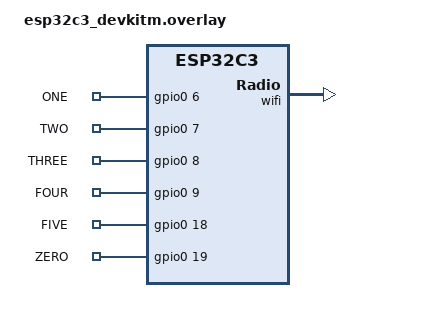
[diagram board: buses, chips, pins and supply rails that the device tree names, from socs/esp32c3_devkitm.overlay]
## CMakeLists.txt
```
# SPDX-License-Identifier: Apache-2.0

set(DTC_OVERLAY_FILE ${CMAKE_CURRENT_SOURCE_DIR}/socs/esp32c3_devkitm.overlay)

cmake_minimum_required(VERSION 3.20.0)

find_package(Zephyr REQUIRED HINTS $ENV{ZEPHYR_BASE})
project(wifi_demo)

target_sources(app PRIVATE src/main.c)
```

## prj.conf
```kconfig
CONFIG_NEWLIB_LIBC=n
CONFIG_MINIMAL_LIBC=y

# Increase stack memory
CONFIG_MAIN_STACK_SIZE=2048

# Enable WiFi
CONFIG_WIFI=y

# Networking config
CONFIG_NETWORKING=y
CONFIG_NET_IPV4=y
CONFIG_NET_IPV6=y
CONFIG_NET_TCP=y
CONFIG_NET_UDP=y
CONFIG_NET_SOCKETS=y

CONFIG_MQTT_LIB=y
CONFIG_MBEDTLS=y
CONFIG_MQTT_LIB_TLS=n
CONFIG_MQTT_KEEPALIVE=60

# Get IPv4 address from DHCP
CONFIG_NET_DHCPV4=y

# Enable DNS resolver
CONFIG_DNS_RESOLVER=y

# How long to wait for e.g. DHCP to provide an IP address (seconds)
CONFIG_NET_CONFIG_INIT_TIMEOUT=30

# Network debug config
#CONFIG_NET_LOG=y

# Enable Ethernet (required for WiFi)
CONFIG_NET_L2_ETHERNET=y

# Get IP address from DHCP
CONFIG_ESP32_WIFI_STA_AUTO_DHCPV4=y

# System heap for WiFi
CONFIG_ESP_WIFI_HEAP_SYSTEM=y
CONFIG_HEAP_MEM_POOL_SIZE=46336
#51200
CONFIG_POSIX_API=y
CONFIG_GPIO=y
```

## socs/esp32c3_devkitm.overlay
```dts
&wifi {
    compatible = "espressif,esp32-wifi";
    status = "okay";
};

/ {
    gpio_pins {
        compatible = "gpio-keys";
        status = "okay";

        one_pin: one {
            gpios = <&gpio0 6 GPIO_ACTIVE_HIGH>;  // GPIO4 for TRIG
            label = "ONE";
        };

        two_pin: two {
            gpios = <&gpio0 7 GPIO_ACTIVE_HIGH>;  // GPIO5 for ECHO
            label = "TWO";
        };

        three_pin: three {
            gpios = <&gpio0 8 GPIO_ACTIVE_HIGH>;  // GPIO4 for TRIG
            label = "THREE";
        };

        four_pin: four {
            gpios = <&gpio0 9 GPIO_ACTIVE_HIGH>;  // GPIO5 for ECHO
            label = "FOUR";
        };

        five_pin: five {
            gpios = <&gpio0 18 GPIO_ACTIVE_HIGH>;  // GPIO4 for TRIG
            label = "FIVE";
        };

        zero_pin: zero {
            gpios = <&gpio0 19 GPIO_ACTIVE_HIGH>;  // GPIO5 for ECHO
            label = "ZERO";
        };
    };

    aliases {
        one = &one_pin;
        two = &two_pin;
        three = &three_pin;
        four = &four_pin;
        five = &five_pin;
        zero = &zero_pin;
    };
};
```

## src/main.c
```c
#include <stdio.h>
#include <string.h>
#include <zephyr/kernel.h>
#include <zephyr/net/socket.h>
#include <zephyr/net/wifi_mgmt.h>
#include <zephyr/posix/sys/socket.h>
#include <zephyr/net/net_ip.h>
#include <zephyr/device.h>
#include <zephyr/sys/printk.h>
#include <zephyr/net/mqtt.h>
#include <zephyr/net/net_event.h>
#include <zephyr/net/net_mgmt.h>
#include <zephyr/net/dns_resolve.h>
#include <zephyr/net/net_core.h>
#include <zephyr/net/net_if.h>
#include <zephyr/drivers/gpio.h>

#define STACK_SIZE 1024
#define POLL_THREAD_PRIORITY 1
#define ULTRA_THREAD_PRIORITY 2

// GPIO pins
#define PIN_ZERO 6
#define PIN_ONE 7
#define PIN_TWO 8
#define GPIO_NODE DT_NODELABEL(gpio0)
const struct device *gpio_dev = DEVICE_DT_GET(GPIO_NODE);

// WiFi settings
#define WIFI_SSID "Jacob"
#define WIFI_PSK "Wynnum4178!"// CONFIGURE
#define MQTT_HOSTNAME "broker.emqx.io"
#define BROKER_IP "44.232.241.40"
#define MQTT_PORT 1883
#define CLIENT_ID "ESP32-zephyr-client"
#define MQTT_SUBSCRIBE_TOPIC "python/mqtt"
#define MQTT_USERNAME "emqx"
#define MQTT_PASSWORD "public"

// Buffer sizes
#define MQTT_CLIENT_RX_BUF_LEN 128
#define MQTT_CLIENT_TX_BUF_LEN 128

static struct mqtt_client client;
static struct sockaddr_storage broker;
static struct pollfd fds[1];
static int nfds;

static uint8_t rx_buff[MQTT_CLIENT_RX_BUF_LEN];
static uint8_t tx_buff[MQTT_CLIENT_TX_BUF_LEN];

// Event callbacks
static struct net_mgmt_event_callback wifi_cb;
static struct net_mgmt_event_callback ipv4_cb;

// Semaphores
static K_SEM_DEFINE(sem_mqtt_connected, 0, 1);
static K_SEM_DEFINE(dns_sem, 0, 1);
static K_SEM_DEFINE(sem_wifi, 0, 1);
static K_SEM_DEFINE(sem_ipv4, 0, 1);
static K_SEM_DEFINE(poll_sem, 0, 1);
static K_SEM_DEFINE(ultra_sem, 0, 1);

void dns_result_cb(enum dns_resolve_status status, struct dns_addrinfo *info, void *user_data) {
	char hr_addr[NET_IPV4_ADDR_LEN];
	char *hr_family;
	void *addr;
    printf("Resolving ...\n");
	switch (status) {
	case DNS_EAI_CANCELED:
		printf("DNS query was canceled\n");
		return;
	case DNS_EAI_FAIL:
		printf("DNS resolve failed\n");
		return;
	case DNS_EAI_NODATA:
		printf("Cannot resolve address\n");
		return;
	case DNS_EAI_ALLDONE:
		printf("DNS resolving finished\n");
        k_sem_give(&dns_sem);
		return;
	case DNS_EAI_INPROGRESS:
		break;
	default:
		printf("DNS resolving error (%d)\n", status);
		return;
	}

	if (!info) {
		return;
	}

	if (info->ai_family == AF_INET) {
		hr_family = "IPv4";
		addr = &net_sin(&info->ai_addr)->sin_addr;
        struct sockaddr_in *broker_addr = (struct sockaddr_in *)&broker;
        broker_addr->sin_family = AF_INET;
        broker_addr->sin_port = htons(MQTT_PORT);
        memcpy(&broker_addr->sin_addr, &net_sin(&info->ai_addr)->sin_addr, sizeof(struct in_addr));
        net_addr_ntop(AF_INET, &broker_addr->sin_addr, hr_addr, sizeof(hr_addr));
        printf("Resolved %s to IPv4 address: %s\n", MQTT_HOSTNAME, hr_addr);
	} else if (info->ai_family == AF_INET6) {
		hr_family = "IPv6";
		addr = &net_sin6(&info->ai_addr)->sin6_addr;
	} else {
		printf("Invalid IP address family %d\n", info->ai_family);
		return;
	}

	printf("%s %s address: %s\n", user_data ? (char *)user_data : "<null>",
		hr_family, net_addr_ntop(info->ai_family, addr, hr_addr, sizeof(hr_addr)));
}

static int resolve_dns(void)
{
    struct dns_resolve_context *dns_ctx = dns_resolve_get_default();
    if (!dns_ctx) {
        printk("No DNS context available\n");
        return -1;
    }

    printk("Resolving hostname: %s\n", MQTT_HOSTNAME);
    int ret = dns_get_addr_info(MQTT_HOSTNAME, DNS_QUERY_TYPE_A, NULL, dns_result_cb, (void*)MQTT_HOSTNAME, 10000);
    if (ret) {
        printk("Failed to start DNS query: %d\n", ret);
        return ret;
    }

    ret = k_sem_take(&dns_sem, K_SECONDS(10));
    if (ret) {
        printk("DNS resolve timeout\n");
        return -2;
    }
    return 0;
}

static void set_fan_speed(int fan_speed) {
    if (fan_speed == 1) {
		gpio_pin_set(gpio_dev, PIN_ZERO, 1);
        gpio_pin_set(gpio_dev, PIN_ONE, 0);
        gpio_pin_set(gpio_dev, PIN_TWO, 0);
	} else if (fan_speed == 2) {
		gpio_pin_set(gpio_dev, PIN_ZERO, 0);
		gpio_pin_set(gpio_dev, PIN_ONE, 1);
        gpio_pin_set(gpio_dev, PIN_TWO, 0);
    } else if (fan_speed == 3) {
		gpio_pin_set(gpio_dev, PIN_ZERO, 1);
		gpio_pin_set(gpio_dev, PIN_ONE, 1);
        gpio_pin_set(gpio_dev, PIN_TWO, 0);
	} else if (fan_speed == 4) {
		gpio_pin_set(gpio_dev, PIN_ZERO, 0);
		gpio_pin_set(gpio_dev, PIN_ONE, 0);
        gpio_pin_set(gpio_dev, PIN_TWO, 1);
	} else if (fan_speed == 5) {
		gpio_pin_set(gpio_dev, PIN_ZERO, 1);
		gpio_pin_set(gpio_dev, PIN_ONE, 0);
        gpio_pin_set(gpio_dev, PIN_TWO, 1);
	} else if (fan_speed == 0) {
		gpio_pin_set(gpio_dev, PIN_ZERO, 0);
		gpio_pin_set(gpio_dev, PIN_ONE, 0);
        gpio_pin_set(gpio_dev, PIN_TWO, 0);
	} else {
        //Nothing detected, don't change
        ;
    }
}

static void mqtt_evt_handler(struct mqtt_client *client, const struct mqtt_evt *evt)
{
    int temp = 0, fan = 0, lights = 0;
    
    switch (evt->type) {
    case MQTT_EVT_CONNACK:
        if (evt->result == 0) {
            printk("MQTT client connected\n");
            k_sem_give(&sem_mqtt_connected);
        } else {
            printk("MQTT connect failed: %d\n", evt->result);
        }
        break;
    case MQTT_EVT_DISCONNECT:
        printk("MQTT client disconnected\n");
        break;
    case MQTT_EVT_PUBLISH:
        {
            const struct mqtt_publish_param *p = &evt->param.publish;
            uint16_t len = p->message.payload.len;
            if (len > sizeof(rx_buff) - 1) {
                len = sizeof(rx_buff) - 1;
            }
            int ret = mqtt_read_publish_payload(client, rx_buff, len);
            if (ret < 0) {
                printk("Failed to read MQTT payload: %d\n", ret);
                break;
            }
            rx_buff[len] = '\0';
            printk("MQTT message received on topic %.*s: %s\n",
                   p->message.topic.topic.size,
                   p->message.topic.topic.utf8,
                   rx_buff);
            char *token = strtok(rx_buff, ",");
            
            while (token) {
                if (strstr(token, "Temp:"))
                    temp = atoi(token + 6);
                else if (strstr(token, "Lights:"))
                    lights = atoi(token + 8);
                else if (strstr(token, "Fan:"))
                    fan = atoi(token + 6);
                token = strtok(NULL, ",");
            }

            printk("Fan Speed: %d", fan);
            //Drive the servo
            set_fan_speed(fan);
        }
        break;
    default:
        printk("MQTT event: %d\n", evt->type);
        break;
    }
}

static int mqtt_connect_client(void)
{
    int ret = resolve_dns();
    if (ret) {
        return ret;
    }
    
    mqtt_client_init(&client);

    client.broker = &broker;
    client.evt_cb = mqtt_evt_handler;

    client.client_id.utf8 = (uint8_t *)CLIENT_ID;
    client.client_id.size = strlen(CLIENT_ID);

    client.protocol_version = MQTT_VERSION_3_1_1;

    struct mqtt_sec_config *tls_config = NULL; // No TLS here, plain MQTT on port 1883

    client.transport.type = MQTT_TRANSPORT_NON_SECURE;
    client.rx_buf = rx_buff;
    client.rx_buf_size = sizeof(rx_buff);
    client.tx_buf = tx_buff;
    client.tx_buf_size = sizeof(tx_buff);

    
    struct mqtt_utf8 username = {
        .utf8 = (uint8_t *)MQTT_USERNAME,
        .size = strlen(MQTT_USERNAME)
    };
    struct mqtt_utf8 password = {
        .utf8 = (uint8_t *)MQTT_PASSWORD,
        .size = strlen(MQTT_PASSWORD)
    };

    client.password = &password;
	client.user_name = &username;


    ret = mqtt_connect(&client);
    if (ret) {
        printk("MQTT connect failed: %d\n", ret);
        return ret;
    }

    return 0;
}

static int mqtt_subscribe_topic(const char *topic)
{
    struct mqtt_topic topics[1];
    struct mqtt_subscription_list subscription;
    topics[0].topic.utf8 = (uint8_t *)topic;
    topics[0].topic.size = strlen(topic);
    topics[0].qos = MQTT_QOS_1_AT_LEAST_ONCE;

    subscription.list = topics;
    subscription.list_count = 1;
    subscription.message_id = 1;
    printf("Subscribing to topic: %s\n", topic);
    int ret = mqtt_subscribe(&client, &subscription);

    if (ret) {
        printk("Failed to subscribe to topic %s: %d\n", topic, ret);
        return ret;
    }

    printk("Subscribed to topic %s\n", topic);
    return 0;
}

static int mqtt_publish_message(const char *topic, const char *message)
{
    struct mqtt_publish_param param;

    param.message.topic.qos = MQTT_QOS_1_AT_LEAST_ONCE;
    param.message.topic.topic.utf8 = (uint8_t *)topic;
    param.message.topic.topic.size = strlen(topic);
    param.message.payload.data = (uint8_t *)message;
    param.message.payload.len = strlen(message);
    param.message_id = 1;
    param.dup_flag = 0;
    param.retain_flag = 0;

    int ret = mqtt_publish(&client, &param);
    if (ret) {
        printk("Failed to publish message: %d\n", ret);
        return ret;
    }

    printk("Published message: %s to topic: %s\n", message, topic);
    return 0;
}

// Called when the WiFi is connected
static void on_wifi_connection_event(struct net_mgmt_event_callback *cb,
                                     uint32_t mgmt_event,
                                     struct net_if *iface)
{
    const struct wifi_status *status = (const struct wifi_status *)cb->info;

    if (mgmt_event == NET_EVENT_WIFI_CONNECT_RESULT) {
        if (status->status) {
            printk("Error (%d): Connection request failed\r\n", status->status);
        } else {
            printk("Connected!\r\n");
            k_sem_give(&sem_wifi);
        }
    } else if (mgmt_event == NET_EVENT_WIFI_DISCONNECT_RESULT) {
        if (status->status) {
            printk("Error (%d): Disconnection request failed\r\n", status->status);
        } else {
            printk("Disconnected\r\n");
            k_sem_take(&sem_wifi, K_NO_WAIT);
        }
    }
}

// Event handler for WiFi management events
static void on_ipv4_obtained(struct net_mgmt_event_callback *cb,
                             uint32_t mgmt_event,
                             struct net_if *iface)
{
    // Signal that the IP address has been obtained
    if (mgmt_event == NET_EVENT_IPV4_ADDR_ADD) {
        k_sem_give(&sem_ipv4);
    }
}

// Initialize the WiFi event callbacks
void wifi_init(void)
{
    // Initialize the event callbacks
    net_mgmt_init_event_callback(&wifi_cb,
                                 on_wifi_connection_event,
                                 NET_EVENT_WIFI_CONNECT_RESULT | NET_EVENT_WIFI_DISCONNECT_RESULT);
    net_mgmt_init_event_callback(&ipv4_cb,
                                 on_ipv4_obtained,
                                 NET_EVENT_IPV4_ADDR_ADD);
    
    // Add the event callbacks
    net_mgmt_add_event_callback(&wifi_cb);
    net_mgmt_add_event_callback(&ipv4_cb);
}

// Connect to the WiFi network (blocking)
int wifi_connect(char *ssid, char *psk)
{
    int ret;
    struct net_if *iface;
    struct wifi_connect_req_params params;

    // Get the default networking interface
    iface = net_if_get_default();

    // Fill in the connection request parameters
    params.ssid = (const uint8_t *)ssid;
    params.ssid_length = strlen(ssid);
    params.psk = (const uint8_t *)psk;
    params.psk_length = strlen(psk);
    params.security = WIFI_SECURITY_TYPE_PSK;
    params.band = WIFI_FREQ_BAND_UNKNOWN;
    params.channel = WIFI_CHANNEL_ANY;
    params.mfp = WIFI_MFP_OPTIONAL;

    // Connect to the WiFi network
    ret = net_mgmt(NET_REQUEST_WIFI_CONNECT,
                   iface,
                   &params,
                   sizeof(params));

    // Wait for the connection to complete
    k_sem_take(&sem_wifi, K_FOREVER);

    return ret;
}

// Wait for IP address (blocking)
void wifi_wait_for_ip_addr(void)
{
    struct wifi_iface_status status;
    struct net_if *iface;
    char ip_addr[NET_IPV4_ADDR_LEN];
    char gw_addr[NET_IPV4_ADDR_LEN];

    // Get interface
    iface = net_if_get_default();

    // Wait for the IPv4 address to be obtained
    k_sem_take(&sem_ipv4, K_FOREVER);

    // Get the WiFi status
    if (net_mgmt(NET_REQUEST_WIFI_IFACE_STATUS,
                 iface,
                 &status,
                 sizeof(struct wifi_iface_status))) {
        printk("Error: WiFi status request failed\r\n");
    }

    // Get the IP address
    memset(ip_addr, 0, sizeof(ip_addr));
    if (net_addr_ntop(AF_INET,
                      &iface->config.ip.ipv4->unicast[0].ipv4.address.in_addr,
                      ip_addr,
                      sizeof(ip_addr)) == NULL) {
        printk("Error: Could not convert IP address to string\r\n");
    }

    // Get the gateway address
    memset(gw_addr, 0, sizeof(gw_addr));
    if (net_addr_ntop(AF_INET,
                      &iface->config.ip.ipv4->gw,
                      gw_addr,
                      sizeof(gw_addr)) == NULL) {
        printk("Error: Could not convert gateway address to string\r\n");
    }

    // Print the WiFi status
    printk("WiFi status:\r\n");
    if (status.state >= WIFI_STATE_ASSOCIATED) {
        printk("  SSID: %-32s\r\n", status.ssid);
        printk("  Band: %s\r\n", wifi_band_txt(status.band));
        printk("  Channel: %d\r\n", status.channel);
        printk("  Security: %s\r\n", wifi_security_txt(status.security));
        printk("  IP address: %s\r\n", ip_addr);
        printk("  Gateway: %s\r\n", gw_addr);
    }
}

// Disconnect from the WiFi network
int wifi_disconnect(void)
{
    int ret;
    struct net_if *iface = net_if_get_default();

    ret = net_mgmt(NET_REQUEST_WIFI_DISCONNECT, iface, NULL, 0);

    return ret;
}



int init_gpios(void)
{
    int ret;
    if (!device_is_ready(gpio_dev)) {
        printk("Error: GPIO device not ready\n");
        return 1;
    }

    // Configure GPIO pin 6 (LSB)
    ret = gpio_pin_configure(gpio_dev, PIN_ZERO, GPIO_OUTPUT_INACTIVE);
    if (ret < 0) {
        printk("Error configuring trigger pin: %d\n", ret);
        return 1;
    }

    // Configure GPIO pin 7
    ret = gpio_pin_configure(gpio_dev, PIN_ONE, GPIO_OUTPUT_INACTIVE);
    if (ret < 0) {
        printk("Error configuring trigger pin: %d\n", ret);
        return 1;
    }

	// Configure GPIO pin 8 (MSB)
    ret = gpio_pin_configure(gpio_dev, PIN_TWO, GPIO_OUTPUT_INACTIVE);
    if (ret < 0) {
        printk("Error configuring trigger pin: %d\n", ret);
        return 1;
    }

    gpio_pin_set(gpio_dev, PIN_ZERO, 0);
	gpio_pin_set(gpio_dev, PIN_ONE, 0);
    gpio_pin_set(gpio_dev, PIN_TWO, 0);

    return 0;
}

int main(void)
{
    int ret;

    printk("WiFi Connection and TCP Server\r\n");

    // Initialize WiFi
    wifi_init();

    // Connect to the WiFi network (blocking)
    ret = wifi_connect(WIFI_SSID, WIFI_PSK);
    if (ret < 0) {
        printk("Error (%d): WiFi connection failed\r\n", ret);
        return 0;
    }

    // Wait to receive an IP address (blocking)
    wifi_wait_for_ip_addr();

    ret = mqtt_connect_client();
    if (ret < 0) {
        printk("Failed to initialize and connect to MQTT broker, error: %d\n", ret);
        return 1;
    }
    
    if (client.transport.type == MQTT_TRANSPORT_NON_SECURE) {
		fds[0].fd = client.transport.tcp.sock;
	}
    fds[0].events = ZSOCK_POLLIN;
    nfds = 1;

    ret = init_gpios();
    if (ret) {
        printk("Error configuring gpio pins");
        return 1;
    }

    // Poll for MQTT events until connected
    while (k_sem_count_get(&sem_mqtt_connected) == 0) {
        mqtt_input(&client);
        mqtt_live(&client);
        k_sleep(K_MSEC(100)); // Give some delay for CPU
        printk("waiting");
    }

    if (client.internal.state) {
        ret = mqtt_subscribe_topic(MQTT_SUBSCRIBE_TOPIC);
        //ret = mqtt_publish_message(MQTT_SUBSCRIBE_TOPIC, "Hello from ESP");
        if (ret < 0) {
            printf("Failed to subscribe to topic, error: %d\n", ret);
            return 1;
        }
    } else {
        printf("MQTT client not connected, cannot subscribe.\n");
    }

    k_sem_give(&poll_sem);
    k_sem_give(&ultra_sem);

    while (1) {
        /* Handle incoming MQTT events - received messages, etc. */
        if (poll(fds, nfds, 10000) < 0) {
            printf("Error in poll: %d\n", errno);
            break;
        }

        if (fds[0].revents & POLLIN) {
            ret = mqtt_input(&client);
            if (ret != 0) {
                printf("Error in mqtt_input: %d\n", ret);
                break;
            }
        }

        if (fds[0].revents & POLLERR) {
            printk("POLLERR\n");
            break;
        }

        if (fds[0].revents & POLLHUP) {
            printk("POLLHUP\n");
            break;
        }

        mqtt_input(&client);
        mqtt_live(&client);
        k_msleep(1000);
    }

    mqtt_disconnect(&client);

    return 0;
}

//K_THREAD_DEFINE(mqtt_poll_id, STACK_SIZE, poll_thread, NULL, NULL, NULL, POLL_THREAD_PRIORITY, 0, 0);
```
